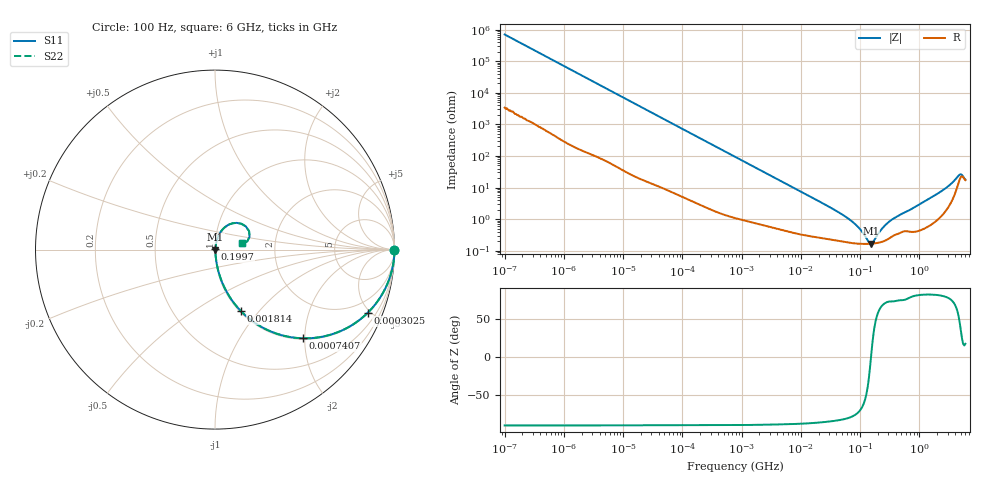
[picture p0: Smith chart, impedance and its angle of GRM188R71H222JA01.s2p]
!Murata Part Number: GRM188R71H222JA01
!These Parameters are Measured in Series Mode Connection
!Data Generated on Mar 30, 2021
!  o--ll--o
!Port1  Port2
!  o------o
!Operation Temp=25[degC], DC Bias Voltage=0[V]
!Freq. Start=100[Hz] Stop=6[GHz] 401[Steps]
# Hz S RI R 50
!Freq.(Hz) S11(Real) S11(Imag) S21(Real) S21(Imag) S12(Real) S12(Imag) S22(Real) S22(Imag)
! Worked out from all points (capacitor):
!   401 points, 100 Hz to 6 GHz, reference 50 ohm
!   read as one part in series: C = 2.25 nF near 109 Hz
!   lowest |Z| = 166 mohm at 152.6 MHz (marker M1)
!   series resonance near 153.1 MHz, so ESL is about 480 pH
!   S11 on the Smith chart (normalised r, x): 100 Hz: open; 302.5 kHz: 1.04, -4.80; 740.7 kHz: 1.02, -1.97; 1.814 MHz: 1.01, -0.81; 199.7 MHz: 1.00, +0.01; 6 GHz: 1.34, +0.11
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100  1 -0.000141  7e-07 0.000141  7e-07 0.000141  1 -0.000141
2008  1 -0.00282  1.98e-05 0.00282  1.98e-05 0.00282  1 -0.00282
40335  0.9965 -0.0558  0.00347 0.0558  0.00347 0.0558  0.9965 -0.0558
141303  0.962 -0.1877  0.038 0.1877  0.038 0.1877  0.962 -0.1877
302498  0.8499 -0.353  0.1501 0.353  0.1501 0.353  0.8499 -0.353
740679  0.4917 -0.4943  0.5083 0.4943  0.5083 0.4943  0.4917 -0.4943
774597  0.4697 -0.4934  0.5303 0.4934  0.5303 0.4934  0.4697 -0.4934
1813585  0.1447 -0.343  0.8553 0.343  0.8553 0.343  0.1447 -0.343
4856642  0.0268 -0.1475  0.9732 0.1475  0.9732 0.1475  0.0268 -0.1475
1.555665e7  0.00506 -0.0475  0.9949 0.0475  0.9949 0.0475  0.00506 -0.0475
6.817316e7  0.00185 -0.00917  0.9982 0.00917  0.9982 0.00917  0.00185 -0.00917
9.326766e7  0.00169 -0.00529  0.9983 0.00529  0.9983 0.00529  0.00169 -0.00529
1.395531e8  0.00164 -0.000959  0.9984 0.000959  0.9984 0.000959  0.00164 -0.000959
1.526266e8  0.00166 -3.38e-05  0.9983 3.38e-05  0.9983 3.38e-05  0.00166 -3.38e-05
1.669249e8  0.00168 0.000893  0.9983 -0.000893  0.9983 -0.000893  0.00168 0.000893
1.996653e8  0.00178 0.00278  0.9982 -0.00278  0.9982 -0.00278  0.00178 0.00278
3.124326e8  0.00253 0.00801  0.9975 -0.00801  0.9975 -0.00801  0.00253 0.00801
2.562649e9  0.0213 0.0809  0.9787 -0.0809  0.9787 -0.0809  0.0213 0.0809
3.666503e9  0.0585 0.1275  0.9415 -0.1275  0.9415 -0.1275  0.0585 0.1275
4.586474e9  0.1456 0.1446  0.8544 -0.1446  0.8544 -0.1446  0.1456 0.1446
5.016141e9  0.19 0.1028  0.81 -0.1028  0.81 -0.1028  0.19 0.1028
6e9  0.1483 0.0393  0.8517 -0.0393  0.8517 -0.0393  0.1483 0.0393
